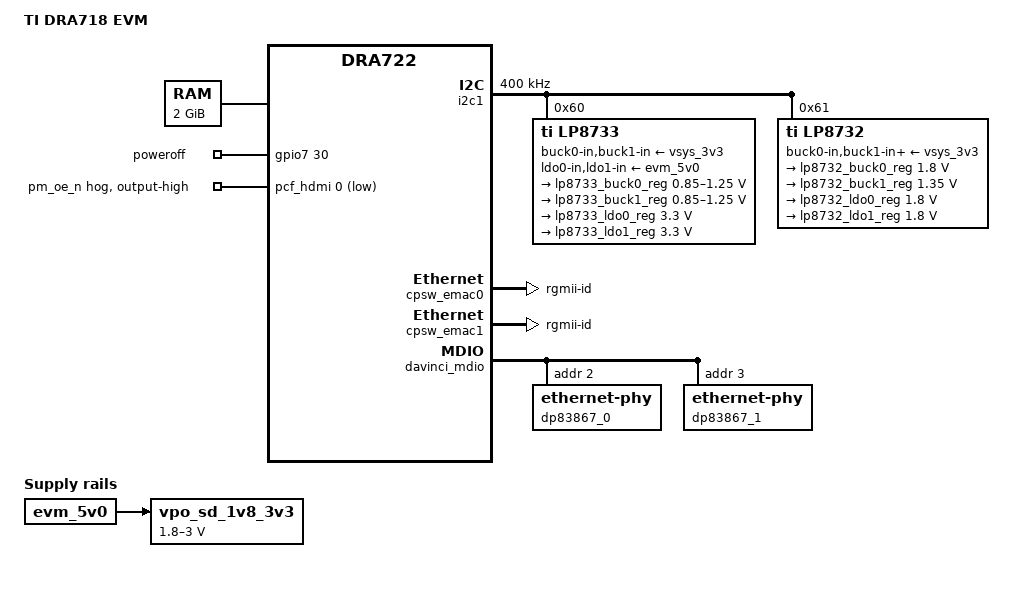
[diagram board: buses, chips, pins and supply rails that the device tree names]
/*
 * Copyright (C) 2016 Texas Instruments Incorporated - http://www.ti.com/
 *
 * This program is free software; you can redistribute it and/or modify
 * it under the terms of the GNU General Public License version 2 as
 * published by the Free Software Foundation.
 */

#include "dra72-evm-common.dtsi"
#include <dt-bindings/net/ti-dp83867.h>

/ {
	compatible = "ti,dra718-evm", "ti,dra718", "ti,dra722", "ti,dra72", "ti,dra7";
	model = "TI DRA718 EVM";

	memory {
		device_type = "memory";
		reg = <0x0 0x80000000 0x0 0x80000000>; /* 2GB */
	};

	vpo_sd_1v8_3v3: gpio-regulator-TPS74801 {
		compatible = "regulator-gpio";

		regulator-name = "vddshv8";
		regulator-min-microvolt = <1800000>;
		regulator-max-microvolt = <3000000>;
		regulator-boot-on;
		vin-supply = <&evm_5v0>;

		gpios = <&gpio7 11 GPIO_ACTIVE_HIGH>;
		states = <1800000 0x0
			  3000000 0x1>;
	};

	poweroff: gpio-poweroff {
		compatible = "gpio-poweroff";
		gpios = <&gpio7 30 GPIO_ACTIVE_HIGH>;
		input;
	};
};

&i2c1 {
	status = "okay";
	clock-frequency = <400000>;

	lp8733: lp8733@60 {
		compatible = "ti,lp8733";
		reg = <0x60>;

		buck0-in-supply =<&vsys_3v3>;
		buck1-in-supply =<&vsys_3v3>;
		ldo0-in-supply =<&evm_5v0>;
		ldo1-in-supply =<&evm_5v0>;

		lp8733_regulators: regulators {
			lp8733_buck0_reg: buck0 {
				/* FB_B0 -> LP8733-BUCK1 - VPO_S1_AVS - VDD_CORE_AVS (core, mpu, gpu) */
				regulator-name = "lp8733-buck0";
				regulator-min-microvolt = <850000>;
				regulator-max-microvolt = <1250000>;
				regulator-always-on;
				regulator-boot-on;
			};

			lp8733_buck1_reg: buck1 {
				/* FB_B1 -> LP8733-BUCK2 - VPO_S2_AVS - VDD_DSP_AVS (DSP/eve/iva) */
				regulator-name = "lp8733-buck1";
				regulator-min-microvolt = <850000>;
				regulator-max-microvolt = <1250000>;
				regulator-boot-on;
				regulator-always-on;
			};

			lp8733_ldo0_reg: ldo0 {
				/* LDO0 -> LP8733-LDO1 - VPO_L1_3V3 - VDDSHV8 (optional) */
				regulator-name = "lp8733-ldo0";
				regulator-min-microvolt = <3300000>;
				regulator-max-microvolt = <3300000>;
			};

			lp8733_ldo1_reg: ldo1 {
				/* LDO1 -> LP8733-LDO2 - VPO_L2_3V3 - VDDA_USB3V3 */
				regulator-name = "lp8733-ldo1";
				regulator-min-microvolt = <3300000>;
				regulator-max-microvolt = <3300000>;
				regulator-always-on;
				regulator-boot-on;
			};
		};
	};

	lp8732: lp8732@61 {
		compatible = "ti,lp8732";
		reg = <0x61>;

		buck0-in-supply =<&vsys_3v3>;
		buck1-in-supply =<&vsys_3v3>;
		ldo0-in-supply =<&vsys_3v3>;
		ldo1-in-supply =<&vsys_3v3>;

		lp8732_regulators: regulators {
			lp8732_buck0_reg: buck0 {
				/* FB_B0 -> LP8732-BUCK1 - VPO_S3_1V8 - VDDS_1V8 */
				regulator-name = "lp8732-buck0";
				regulator-min-microvolt = <1800000>;
				regulator-max-microvolt = <1800000>;
				regulator-always-on;
				regulator-boot-on;
			};

			lp8732_buck1_reg: buck1 {
				/* FB_B1 -> LP8732-BUCK2 - VPO_S4_DDR - VDD_DDR_1V35 */
				regulator-name = "lp8732-buck1";
				regulator-min-microvolt = <1350000>;
				regulator-max-microvolt = <1350000>;
				regulator-boot-on;
				regulator-always-on;
			};

			lp8732_ldo0_reg: ldo0 {
				/* LDO0 -> LP8732-LDO1 - VPO_L3_1V8 - VDA_1V8_PLL */
				regulator-name = "lp8732-ldo0";
				regulator-min-microvolt = <1800000>;
				regulator-max-microvolt = <1800000>;
				regulator-boot-on;
				regulator-always-on;
			};

			lp8732_ldo1_reg: ldo1 {
				/* LDO1 -> LP8732-LDO2 - VPO_L4_1V8 - VDA_1V8_PHY */
				regulator-name = "lp8732-ldo1";
				regulator-min-microvolt = <1800000>;
				regulator-max-microvolt = <1800000>;
				regulator-always-on;
				regulator-boot-on;
			};
		};
	};
};

&pcf_lcd {
	interrupt-parent = <&gpio7>;
	interrupts = <31 IRQ_TYPE_EDGE_FALLING>;
};

&pcf_gpio_21 {
	interrupt-parent = <&gpio7>;
	interrupts = <31 IRQ_TYPE_EDGE_FALLING>;
};

&pcf_hdmi {
	p0 {
		/*
		 * PM_OEn to High: Disable routing I2C3 to PM_I2C
		 * With this PM_SEL(p3) should not matter
		 */
		gpio-hog;
		gpios = <0 GPIO_ACTIVE_LOW>;
		output-high;
		line-name = "pm_oe_n";
	};
};

&mmc1 {
	vmmc_aux-supply = <&vpo_sd_1v8_3v3>;
};

&mac {
	mode-gpios = <&pcf_gpio_21 4 GPIO_ACTIVE_LOW>,
		     <&pcf_hdmi 9 GPIO_ACTIVE_LOW>,	/* P11 */
		     <&pcf_hdmi 10 GPIO_ACTIVE_LOW>;	/* P12 */
	dual_emac;
};

&cpsw_emac0 {
	phy_id = <&davinci_mdio>, <2>;
	phy-mode = "rgmii-id";
	dual_emac_res_vlan = <1>;
};

&cpsw_emac1 {
	phy_id = <&davinci_mdio>, <3>;
	phy-mode = "rgmii-id";
	dual_emac_res_vlan = <2>;
};

&davinci_mdio {
	dp83867_0: ethernet-phy@2 {
		reg = <2>;
		ti,rx-internal-delay = <DP83867_RGMIIDCTL_2_25_NS>;
		ti,tx-internal-delay = <DP83867_RGMIIDCTL_250_PS>;
		ti,fifo-depth = <DP83867_PHYCR_FIFO_DEPTH_8_B_NIB>;
		ti,impedance-control = <0x1f>;
	};

	dp83867_1: ethernet-phy@3 {
		reg = <3>;
		ti,rx-internal-delay = <DP83867_RGMIIDCTL_2_25_NS>;
		ti,tx-internal-delay = <DP83867_RGMIIDCTL_250_PS>;
		ti,fifo-depth = <DP83867_PHYCR_FIFO_DEPTH_8_B_NIB>;
		ti,impedance-control = <0x1f>;
	};
};

/* No Sata on this device */
&sata_phy {
	status = "disabled";
};

&sata {
	status = "disabled";
};

/* No RTC on this device */
&rtc {
	status = "disabled";
};

&usb2_phy1 {
	phy-supply = <&lp8733_ldo1_reg>;
};

&usb2_phy2 {
	phy-supply = <&lp8733_ldo1_reg>;
};

&dss {
	/* Supplied by VDA_1V8_PLL */
	vdda_video-supply = <&lp8732_ldo0_reg>;
};

&hdmi {
	/* Supplied by VDA_1V8_PHY */
	vdda_video-supply = <&lp8732_ldo1_reg>;
};
